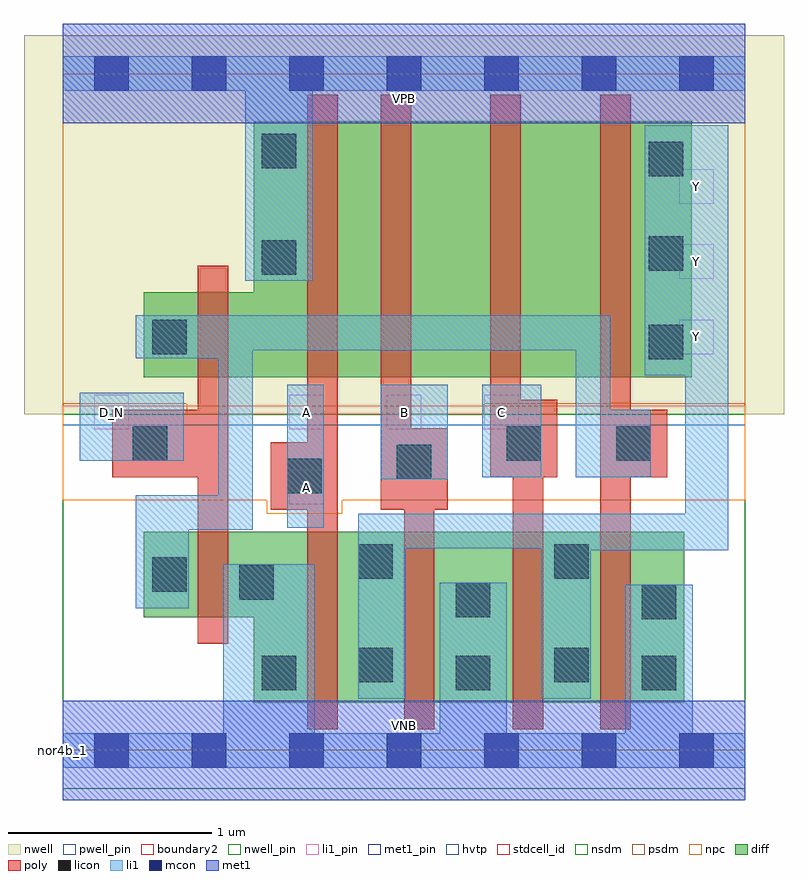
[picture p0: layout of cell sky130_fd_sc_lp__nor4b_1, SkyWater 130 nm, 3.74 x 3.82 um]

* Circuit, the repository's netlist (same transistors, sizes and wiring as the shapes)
* Copyright 2020 The SkyWater PDK Authors
*
* Licensed under the Apache License, Version 2.0 (the "License");
* you may not use this file except in compliance with the License.
* You may obtain a copy of the License at
*
*     https://www.apache.org/licenses/LICENSE-2.0
*
* Unless required by applicable law or agreed to in writing, software
* distributed under the License is distributed on an "AS IS" BASIS,
* WITHOUT WARRANTIES OR CONDITIONS OF ANY KIND, either express or implied.
* See the License for the specific language governing permissions and
* limitations under the License.
*
* SPDX-License-Identifier: Apache-2.0

.SUBCKT sky130_fd_sc_lp__nor4b_1 A B C D_N VGND VNB VPB VPWR Y
*.PININFO A:I B:I C:I D_N:I VGND:I VNB:I VPB:I VPWR:I Y:O
MMP0 VPWR A sndPA VPB sky130_fd_pr__pfet_01v8_hvt m=1 w=1.26U l=0.15U mult=1 sa=0.265
+ sb=0.265 sd=0.28 area=0.063 perim=1.14
MMP1 sndPA B sndPB VPB sky130_fd_pr__pfet_01v8_hvt m=1 w=1.26U l=0.15U mult=1 sa=0.265
+ sb=0.265 sd=0.28 area=0.063 perim=1.14
MMP2 sndPB C sndPC VPB sky130_fd_pr__pfet_01v8_hvt m=1 w=1.26U l=0.15U mult=1 sa=0.265
+ sb=0.265 sd=0.28 area=0.063 perim=1.14
MMP3 sndPC D Y VPB sky130_fd_pr__pfet_01v8_hvt m=1 w=1.26U l=0.15U mult=1 sa=0.265
+ sb=0.265 sd=0.28 area=0.063 perim=1.14
MMIP3 D D_N VPWR VPB sky130_fd_pr__pfet_01v8_hvt m=1 w=0.42U l=0.15U mult=1 sa=0.265
+ sb=0.265 sd=0.28 area=0.063 perim=1.14
MMN0 Y A VGND VNB sky130_fd_pr__nfet_01v8 m=1 w=0.84U l=0.15U mult=1 sa=0.265 sb=0.265
+ sd=0.28 area=0.063 perim=1.14
MMN1 Y B VGND VNB sky130_fd_pr__nfet_01v8 m=1 w=0.84U l=0.15U mult=1 sa=0.265 sb=0.265
+ sd=0.28 area=0.063 perim=1.14
MMN2 Y C VGND VNB sky130_fd_pr__nfet_01v8 m=1 w=0.84U l=0.15U mult=1 sa=0.265 sb=0.265
+ sd=0.28 area=0.063 perim=1.14
MMN3 Y D VGND VNB sky130_fd_pr__nfet_01v8 m=1 w=0.84U l=0.15U mult=1 sa=0.265 sb=0.265
+ sd=0.28 area=0.063 perim=1.14
MMIN3 D D_N VGND VNB sky130_fd_pr__nfet_01v8 m=1 w=0.42U l=0.15U mult=1 sa=0.265
+ sb=0.265 sd=0.28 area=0.063 perim=1.14
.ENDS sky130_fd_sc_lp__nor4b_1

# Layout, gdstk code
import gdstk
lib = gdstk.Library(unit=1e-6, precision=1e-09)
def R(c, l, rs):  # rectangles x0, y0, x1, y1
    for r in rs: c.add(gdstk.rectangle(r[:2], r[2:], *l))
def A(c, l, x, y, w, h, nx, ny, dx, dy):  # array of equal rectangles
    R(c, l, [(x+i*dx, y+j*dy, x+i*dx+w, y+j*dy+h) for i in range(nx) for j in range(ny)])
def P(c, l, *ps):  # polygons
    for p in ps: c.add(gdstk.Polygon(p, *l))
nwell_pin = (64, 16)
nwell = (64, 20)
diff = (65, 20)
poly = (66, 20)
licon = (66, 44)
li1_pin = (67, 16)
li1 = (67, 20)
mcon = (67, 44)
met1_pin = (68, 16)
met1 = (68, 20)
hvtp = (78, 44)
stdcell_id = (81, 4)
nsdm = (93, 44)
psdm = (94, 20)
npc = (95, 20)
pwell_pin = (122, 16)
boundary2 = (236, 0)

sky130_fd_sc_lp__nor4b_1 = lib.new_cell('sky130_fd_sc_lp__nor4b_1')
R(sky130_fd_sc_lp__nor4b_1, nwell_pin, [(0,3.085,3.36,3.33)])
R(sky130_fd_sc_lp__nor4b_1, nwell, [(-0.19,1.655,3.55,3.52)])
P(sky130_fd_sc_lp__nor4b_1, diff, [(3.06,1.075),(0.4,1.075),(0.4,0.655),(0.94,0.655),(0.94,0.235),(3.06,0.235)],
  [(3.095,3.095),(0.94,3.095),(0.94,2.255),(0.4,2.255),(0.4,1.835),(3.095,1.835)])
P(sky130_fd_sc_lp__nor4b_1, poly, [(2.975,1.675),(2.795,1.675),(2.795,3.225),(2.645,3.225),(2.645,0.105),(2.795,0.105),(2.795,1.345),(2.975,1.345)],
  [(1.895,1.585),(1.715,1.585),(1.715,3.225),(1.565,3.225),(1.565,1.185),(1.68,1.185),(1.68,0.105),(1.83,0.105),(1.83,1.185),(1.895,1.185)],
  [(2.435,1.725),(2.255,1.725),(2.255,3.225),(2.105,3.225),(2.105,1.345),(2.215,1.345),(2.215,0.105),(2.365,0.105),(2.365,1.345),(2.435,1.345)],
  [(0.815,2.385),(0.665,2.385),(0.665,1.675),(0.245,1.675),(0.245,1.345),(0.665,1.345),(0.665,0.525),(0.815,0.525)],
  [(1.355,3.225),(1.205,3.225),(1.205,1.515),(1.025,1.515),(1.025,1.185),(1.205,1.185),(1.205,0.105),(1.355,0.105)])
R(sky130_fd_sc_lp__nor4b_1, licon, [(0.98,0.295,1.15,0.465), (1.935,0.295,2.105,0.465), (2.85,0.295,3.02,0.465), (1.455,0.335,1.625,0.505), (2.42,0.335,2.59,0.505), (2.85,0.645,3.02,0.815), (1.935,0.655,2.105,0.825), (0.87,0.74,1.04,0.91), (0.44,0.78,0.61,0.95), (1.455,0.845,1.625,1.015), (2.42,0.845,2.59,1.015), (1.105,1.265,1.275,1.435), (1.645,1.335,1.815,1.505), (0.345,1.425,0.515,1.595), (2.185,1.425,2.355,1.595), (2.725,1.425,2.895,1.595), (2.885,1.925,3.055,2.095), (0.44,1.95,0.61,2.12), (0.98,2.34,1.15,2.51), (2.885,2.36,3.055,2.53), (2.885,2.825,3.055,2.995), (0.98,2.865,1.15,3.035)])
A(sky130_fd_sc_lp__nor4b_1, li1_pin, 1.115, 1.58, 0.17, 0.17, 3, 1, 0.48, 0)
A(sky130_fd_sc_lp__nor4b_1, li1_pin, 3.035, 1.95, 0.17, 0.17, 1, 3, 0, 0.37)
R(sky130_fd_sc_lp__nor4b_1, li1_pin, [(1.115,1.21,1.285,1.38), (0.155,1.58,0.325,1.75)])
R(sky130_fd_sc_lp__nor4b_1, li1, [(1.105,1.095,1.285,1.8), (1.565,1.335,1.895,1.8), (2.065,1.345,2.355,1.8), (0.085,1.425,0.595,1.76)])
P(sky130_fd_sc_lp__nor4b_1, li1, [(3.36,0.085),(3.1,0.085),(3.1,0.815),(2.77,0.815),(2.77,0.085),(2.185,0.085),(2.185,0.825),(1.855,0.825),(1.855,0.085),(1.24,0.085),(1.24,0.915),(0.79,0.915),(0.79,0.085),(0,0.085),(0,-0.085),(3.36,-0.085)],
  [(3.275,3.075),(2.865,3.075),(2.865,1.845),(3.065,1.845),(3.065,1.165),(1.455,1.165),(1.455,0.255),(1.685,0.255),(1.685,0.995),(2.355,0.995),(2.355,0.255),(2.6,0.255),(2.6,0.985),(3.275,0.985)],
  [(2.895,1.675),(2.695,1.675),(2.695,2.14),(0.36,2.14),(0.36,1.93),(0.765,1.93),(0.765,1.255),(0.36,1.255),(0.36,0.7),(0.62,0.7),(0.62,1.085),(0.935,1.085),(0.935,1.97),(2.525,1.97),(2.525,1.345),(2.895,1.345)],
  [(3.36,3.415),(0,3.415),(0,3.245),(0.9,3.245),(0.9,2.31),(1.23,2.31),(1.23,3.245),(3.36,3.245)])
A(sky130_fd_sc_lp__nor4b_1, mcon, 0.155, -0.085, 0.17, 0.17, 7, 2, 0.48, 3.33)
R(sky130_fd_sc_lp__nor4b_1, met1_pin, [(0,0,3.36,0.245), (0,3.085,3.36,3.33)])
R(sky130_fd_sc_lp__nor4b_1, met1, [(0,-0.245,3.36,0.245), (0,3.085,3.36,3.575)])
R(sky130_fd_sc_lp__nor4b_1, hvtp, [(0,1.6,3.36,3.33)])
R(sky130_fd_sc_lp__nor4b_1, stdcell_id, [(0,0,3.36,3.33)])
R(sky130_fd_sc_lp__nor4b_1, nsdm, [(0,-0.19,3.36,1.655)])
P(sky130_fd_sc_lp__nor4b_1, psdm, [(3.36,3.52),(0,3.52),(0,1.705),(0.61,1.705),(0.61,1.655),(2.075,1.655),(2.075,1.705),(3.36,1.705)])
P(sky130_fd_sc_lp__nor4b_1, npc, [(3.36,1.695),(0,1.695),(0,1.23),(1.005,1.23),(1.005,1.165),(1.375,1.165),(1.375,1.23),(3.36,1.23)])
R(sky130_fd_sc_lp__nor4b_1, pwell_pin, [(0,0,3.36,0.245)])
R(sky130_fd_sc_lp__nor4b_1, boundary2, [(0,0,3.36,3.33)])
sky130_fd_sc_lp__nor4b_1.add(gdstk.Label('VNB', (1.68,0.123), layer=64, texttype=59))
sky130_fd_sc_lp__nor4b_1.add(gdstk.Label('VPB', (1.68,3.208), layer=64, texttype=5))
sky130_fd_sc_lp__nor4b_1.add(gdstk.Label('nor4b_1', (0,0), layer=83, texttype=44))
sky130_fd_sc_lp__nor4b_1.add(gdstk.Label('VPWR', (1.68,3.208), layer=68, texttype=5))
sky130_fd_sc_lp__nor4b_1.add(gdstk.Label('VGND', (1.68,0.123), layer=68, texttype=5))
sky130_fd_sc_lp__nor4b_1.add(gdstk.Label('Y', (3.12,2.775), layer=67, texttype=5))
sky130_fd_sc_lp__nor4b_1.add(gdstk.Label('A', (1.2,1.295), layer=67, texttype=5))
sky130_fd_sc_lp__nor4b_1.add(gdstk.Label('A', (1.2,1.665), layer=67, texttype=5))
sky130_fd_sc_lp__nor4b_1.add(gdstk.Label('B', (1.68,1.665), layer=67, texttype=5))
sky130_fd_sc_lp__nor4b_1.add(gdstk.Label('C', (2.16,1.665), layer=67, texttype=5))
sky130_fd_sc_lp__nor4b_1.add(gdstk.Label('D_N', (0.24,1.665), layer=67, texttype=5))
sky130_fd_sc_lp__nor4b_1.add(gdstk.Label('Y', (3.12,2.405), layer=67, texttype=5))
sky130_fd_sc_lp__nor4b_1.add(gdstk.Label('Y', (3.12,2.035), layer=67, texttype=5))

lib.write_gds('sky130_fd_sc_lp__nor4b_1.gds')
